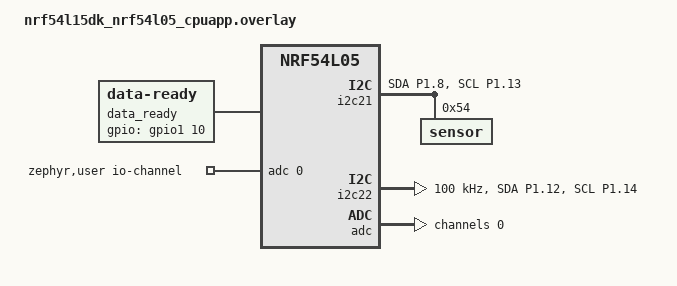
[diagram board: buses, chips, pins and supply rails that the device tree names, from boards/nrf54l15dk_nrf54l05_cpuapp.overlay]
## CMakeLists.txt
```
cmake_minimum_required(VERSION 3.20.0)
find_package(Zephyr REQUIRED HINTS $ENV{ZEPHYR_BASE})
project(peripheral_nus)

target_sources(app PRIVATE
        src/i2c_registers.c
		src/i2c_peripheral.c
		src/ble_peripheral.c
		src/adc.c
		../common/src/crypto.c
)

target_include_directories(app PRIVATE 
		../common/inc/
		inc/
)
```

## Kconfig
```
config I2C_BRIDGE_AUTH_ENABLE
	bool "Authentication timeout enabled"
	default y
	help
	  This options enables app layer authentication

config I2C_BRIDGE_AUTH_TIMEOUT
	int "Authentication timeout for BLE connection in seconds"
	default 10
	help
	  This option sets the timeout duration in seconds for the authentication
	  process when establishing a BLE connection. If the authentication is not
	  completed within this time frame, the connection attempt will be aborted.
	  Adjust this value based on your security requirements and expected
	  connection scenarios.

config I2C_BRIDGE_INT_HIGH_MS
	int "Interrupt high time in milliseconds"
	default 1
	help
	  This option sets the length of time that the interrupt line is held high for
	  any interrupt source.

config BSIB_I2C_ENCRYPTION
	bool "Encryption is enabled for I2C transport"
	help
	  Enables encryption for I2C communication

source "Kconfig.zephyr"
```

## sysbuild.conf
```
SB_CONFIG_BOOTLOADER_MCUBOOT=y
SB_CONFIG_MCUBOOT_MODE_OVERWRITE_ONLY=y
#SB_CONFIG_MCUBOOT_COMPRESSED_IMAGE_SUPPORT=y
```

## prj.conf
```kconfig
# Enable logging
CONFIG_LOG=y

CONFIG_GPIO=y
CONFIG_ADC=y

CONFIG_RING_BUFFER=y

CONFIG_MAIN_STACK_SIZE=4096
CONFIG_HEAP_MEM_POOL_SIZE=4096

# Enable BLE peripheral UART
CONFIG_BT=y
CONFIG_BT_SMP=y
CONFIG_BT_PERIPHERAL=y
CONFIG_BT_RX_STACK_SIZE=2048
CONFIG_BT_L2CAP_TX_MTU=512
CONFIG_BT_BUF_ACL_RX_SIZE=502
CONFIG_BT_BUF_ACL_TX_SIZE=502
CONFIG_BT_CTLR_DATA_LENGTH_MAX=251

CONFIG_FLASH=y
CONFIG_FLASH_MAP=y

CONFIG_SETTINGS=y

# Enable nordic security backend and PSA APIs
CONFIG_NRF_SECURITY=y
CONFIG_MBEDTLS_PSA_CRYPTO_C=y

# Enable persistent storage APIs
#CONFIG_MBEDTLS_PSA_CRYPTO_STORAGE_C=y

CONFIG_MBEDTLS_ENABLE_HEAP=y
CONFIG_MBEDTLS_HEAP_SIZE=16384

CONFIG_PSA_WANT_GENERATE_RANDOM=y
CONFIG_PSA_WANT_KEY_TYPE_AES=y
CONFIG_PSA_WANT_ALG_CTR=y

CONFIG_I2C_BRIDGE_AUTH_TIMEOUT=5

# FOTA Kconfigs
CONFIG_BOOTLOADER_MCUBOOT=y
CONFIG_MCUMGR=y
CONFIG_NET_BUF=y
CONFIG_ZCBOR=y
CONFIG_CRC=y
CONFIG_MCUMGR_TRANSPORT_BT=y
CONFIG_MCUMGR_TRANSPORT_BT_CONN_PARAM_CONTROL=y
CONFIG_IMG_MANAGER=y
CONFIG_MCUMGR_GRP_IMG=y
CONFIG_MCUMGR_GRP_OS=y
CONFIG_MCUMGR_GRP_OS_BOOTLOADER_INFO=y
CONFIG_MCUMGR_TRANSPORT_BT_REASSEMBLY=y

CONFIG_BT_L2CAP_TX_MTU=498
CONFIG_BT_BUF_ACL_TX_SIZE=251
CONFIG_BT_BUF_ACL_RX_SIZE=502
CONFIG_BT_CTLR_DATA_LENGTH_MAX=251
CONFIG_MCUMGR_TRANSPORT_BT_PERM_RW=y
CONFIG_MCUMGR_TRANSPORT_BT_PERM_RW_AUTHEN=n
```

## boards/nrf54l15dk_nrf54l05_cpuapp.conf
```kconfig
CONFIG_I2C=y
CONFIG_NRFX_TWIS22=y

# Using hardware crypto accelerator
CONFIG_PSA_CRYPTO_DRIVER_OBERON=n
CONFIG_PSA_CRYPTO_DRIVER_CRACEN=y

# Use TRUSTED_STORAGE because this is a secure-only board
#CONFIG_TRUSTED_STORAGE=y
#CONFIG_TRUSTED_STORAGE_STORAGE_BACKEND_SETTINGS=y

CONFIG_NVS=y
CONFIG_SETTINGS_NVS=y
```

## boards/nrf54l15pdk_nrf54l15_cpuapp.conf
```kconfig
CONFIG_I2C=y
CONFIG_NRFX_TWIS22=y
```

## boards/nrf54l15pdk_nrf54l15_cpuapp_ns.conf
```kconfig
CONFIG_I2C=y
CONFIG_NRFX_TWIS22=y

# Using hardware crypto accelerator
CONFIG_PSA_CRYPTO_DRIVER_OBERON=n
CONFIG_PSA_CRYPTO_DRIVER_CRACEN=y

# Use TRUSTED_STORAGE because this is a secure-only board
CONFIG_TRUSTED_STORAGE=y
CONFIG_TRUSTED_STORAGE_STORAGE_BACKEND_SETTINGS=y

CONFIG_NVS=y
CONFIG_SETTINGS_NVS=y
```

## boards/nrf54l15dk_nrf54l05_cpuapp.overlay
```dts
/ {
	data_ready: data_ready {
		compatible = "data-ready";
		gpios = <&gpio1 10 GPIO_ACTIVE_HIGH>;
	};

	zephyr,user {
		io-channels = <&adc 0>;
	};
};

&pinctrl {
	i2c21_default_alt: i2c21_default_alt {
		group1 {
			psels = <NRF_PSEL(TWIM_SDA, 1, 8)>,
				<NRF_PSEL(TWIM_SCL, 1, 13)>;
		};
	};

	i2c21_sleep_alt: i2c21_sleep_alt {
		group1 {
			psels = <NRF_PSEL(TWIM_SDA, 1, 8)>,
				<NRF_PSEL(TWIM_SCL, 1, 13)>;
			low-power-enable;
		};
	};

	i2c22_default_alt: i2c22_default_alt {
		group1 {
			psels = <NRF_PSEL(TWIM_SDA, 1, 12)>,
				<NRF_PSEL(TWIM_SCL, 1, 14)>;
		};
	};

	i2c22_sleep_alt: i2c22_sleep_alt {
		group1 {
			psels = <NRF_PSEL(TWIM_SDA, 1, 12)>,
				<NRF_PSEL(TWIM_SCL, 1, 14)>;
			low-power-enable;
		};
	};
};

&i2c21 {
	compatible = "nordic,nrf-twim";
	status = "okay";
	pinctrl-0 = <&i2c21_default_alt>;
	pinctrl-1 = <&i2c21_sleep_alt>;
	pinctrl-names = "default", "sleep";
	sensor: sensor@54 {
		reg = <0x54>;
	};
};

twi_peripheral: &i2c22 {
	compatible = "nordic,nrf-twis";
	status = "okay";
	clock-frequency = <I2C_BITRATE_STANDARD>;
	pinctrl-0 = <&i2c22_default_alt>;
	pinctrl-1 = <&i2c22_sleep_alt>;
	pinctrl-names = "default", "sleep";
};

&adc {
	#address-cells = <1>;
	#size-cells = <0>;

	channel@0 {
		reg = <0>;
		zephyr,gain = "ADC_GAIN_1_4";
		zephyr,reference = "ADC_REF_INTERNAL";
		zephyr,acquisition-time = <ADC_ACQ_TIME_DEFAULT>;
		zephyr,input-positive = <NRF_SAADC_VDD>;
		zephyr,resolution = <12>;
	};
};
```

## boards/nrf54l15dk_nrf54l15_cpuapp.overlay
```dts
/ {
	data_ready: data_ready {
		compatible = "data-ready";
		gpios = <&gpio1 10 GPIO_ACTIVE_HIGH>;
	};

	zephyr,user {
		io-channels = <&adc 0>;
	};
};

&pinctrl {
	i2c21_default_alt: i2c21_default_alt {
		group1 {
			psels = <NRF_PSEL(TWIM_SDA, 1, 8)>,
				<NRF_PSEL(TWIM_SCL, 1, 13)>;
		};
	};

	i2c21_sleep_alt: i2c21_sleep_alt {
		group1 {
			psels = <NRF_PSEL(TWIM_SDA, 1, 8)>,
				<NRF_PSEL(TWIM_SCL, 1, 13)>;
			low-power-enable;
		};
	};

	i2c22_default_alt: i2c22_default_alt {
		group1 {
			psels = <NRF_PSEL(TWIM_SDA, 1, 14)>,
				<NRF_PSEL(TWIM_SCL, 1, 12)>;
		};
	};

	i2c22_sleep_alt: i2c22_sleep_alt {
		group1 {
			psels = <NRF_PSEL(TWIM_SDA, 1, 14)>,
				<NRF_PSEL(TWIM_SCL, 1, 12)>;
			low-power-enable;
		};
	};
};

&i2c21 {
	compatible = "nordic,nrf-twim";
	status = "okay";
	pinctrl-0 = <&i2c21_default_alt>;
	pinctrl-1 = <&i2c21_sleep_alt>;
	pinctrl-names = "default", "sleep";
	sensor: sensor@54 {
		reg = <0x54>;
	};
};

twi_peripheral: &i2c22 {
	compatible = "nordic,nrf-twis";
	status = "okay";
	clock-frequency = <I2C_BITRATE_STANDARD>;
	pinctrl-0 = <&i2c22_default_alt>;
	pinctrl-1 = <&i2c22_sleep_alt>;
	pinctrl-names = "default", "sleep";
};

&adc {
	#address-cells = <1>;
	#size-cells = <0>;

	channel@0 {
		reg = <0>;
		zephyr,gain = "ADC_GAIN_1_4";
		zephyr,reference = "ADC_REF_INTERNAL";
		zephyr,acquisition-time = <ADC_ACQ_TIME_DEFAULT>;
		zephyr,input-positive = <NRF_SAADC_VDD>;
		zephyr,resolution = <12>;
	};
};
```

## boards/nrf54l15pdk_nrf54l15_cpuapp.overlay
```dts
&pinctrl {
	i2c22_default_alt: i2c22_default_alt {
		group1 {
			psels = <NRF_PSEL(TWIM_SDA, 1, 9)>,
				<NRF_PSEL(TWIM_SCL, 1, 13)>;
		};
	};

	i2c22_sleep_alt: i2c22_sleep_alt {
		group1 {
			psels = <NRF_PSEL(TWIM_SDA, 1, 9)>,
				<NRF_PSEL(TWIM_SCL, 1, 13)>;
			low-power-enable;
		};
	};
};

twi_slave: &i2c22 {
	compatible = "nordic,nrf-twis";
	status = "okay";
	clock-frequency = <I2C_BITRATE_STANDARD>;
	pinctrl-0 = <&i2c22_default_alt>;
	pinctrl-1 = <&i2c22_sleep_alt>;
	pinctrl-names = "default", "sleep";
};
```

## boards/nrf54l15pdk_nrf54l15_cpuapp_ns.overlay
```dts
&pinctrl {
	i2c21_default_alt: i2c21_default_alt {
		group1 {
			psels = <NRF_PSEL(TWIM_SDA, 1, 8)>,
				<NRF_PSEL(TWIM_SCL, 1, 12)>;
		};
	};

	i2c21_sleep_alt: i2c21_sleep_alt {
		group1 {
			psels = <NRF_PSEL(TWIM_SDA, 1, 8)>,
				<NRF_PSEL(TWIM_SCL, 1, 12)>;
			low-power-enable;
		};
	};

	i2c22_default_alt: i2c22_default_alt {
		group1 {
			psels = <NRF_PSEL(TWIM_SDA, 1, 9)>,
				<NRF_PSEL(TWIM_SCL, 1, 13)>;
		};
	};

	i2c22_sleep_alt: i2c22_sleep_alt {
		group1 {
			psels = <NRF_PSEL(TWIM_SDA, 1, 9)>,
				<NRF_PSEL(TWIM_SCL, 1, 13)>;
			low-power-enable;
		};
	};
};

&i2c21 {
	compatible = "nordic,nrf-twim";
	status = "okay";
	pinctrl-0 = <&i2c21_default_alt>;
	pinctrl-1 = <&i2c21_sleep_alt>;
	pinctrl-names = "default", "sleep";
	sensor: sensor@54 {
		reg = <0x54>;
	};
};

twi_peripheral: &i2c22 {
	compatible = "nordic,nrf-twis";
	status = "okay";
	clock-frequency = <I2C_BITRATE_STANDARD>;
	pinctrl-0 = <&i2c22_default_alt>;
	pinctrl-1 = <&i2c22_sleep_alt>;
	pinctrl-names = "default", "sleep";
};
```

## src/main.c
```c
/*
 * Copyright (c) 2024 Croxel, Inc.
 *
 * SPDX-License-Identifier: Apache-2.0
 */
#if 0
#include <zephyr/kernel.h>
#include <zephyr/bluetooth/bluetooth.h>
#include <zephyr/bluetooth/services/nus.h>

#define DEVICE_NAME		CONFIG_BT_DEVICE_NAME
#define DEVICE_NAME_LEN		(sizeof(DEVICE_NAME) - 1)

static const struct bt_data ad[] = {
	BT_DATA_BYTES(BT_DATA_FLAGS, (BT_LE_AD_GENERAL | BT_LE_AD_NO_BREDR)),
	BT_DATA(BT_DATA_NAME_COMPLETE, DEVICE_NAME, DEVICE_NAME_LEN),
};

static const struct bt_data sd[] = {
	BT_DATA_BYTES(BT_DATA_UUID128_ALL, BT_UUID_NUS_SRV_VAL),
};

static void notif_enabled(bool enabled, void *ctx)
{
	ARG_UNUSED(ctx);

	printk("%s() - %s\n", __func__, (enabled ? "Enabled" : "Disabled"));
}

static void received(struct bt_conn *conn, const void *data, uint16_t len, void *ctx)
{
	char message[CONFIG_BT_L2CAP_TX_MTU + 1] = "";

	ARG_UNUSED(conn);
	ARG_UNUSED(ctx);

	memcpy(message, data, MIN(sizeof(message) - 1, len));
	printk("%s() - Len: %d, Message: %s\n", __func__, len, message);
}

struct bt_nus_cb nus_listener = {
	.notif_enabled = notif_enabled,
	.received = received,
};

int main(void)
{
	int err;

	printk("Sample - Bluetooth Peripheral NUS\n");

	err = bt_nus_cb_register(&nus_listener, NULL);
	if (err) {
		printk("Failed to register NUS callback: %d\n", err);
		return err;
	}

	err = bt_enable(NULL);
	if (err) {
		printk("Failed to enable bluetooth: %d\n", err);
		return err;
	}

	err = bt_le_adv_start(BT_LE_ADV_CONN, ad, ARRAY_SIZE(ad), sd, ARRAY_SIZE(sd));
	if (err) {
		printk("Failed to start advertising: %d\n", err);
		return err;
	}

	printk("Initialization complete\n");

	while (true) {
		const char *hello_world = "Hello World!\n";

		k_sleep(K_SECONDS(3));

		err = bt_nus_send(NULL, hello_world, strlen(hello_world));
		printk("Data send - Result: %d\n", err);

		if (err < 0 && (err != -EAGAIN) && (err != -ENOTCONN)) {
			return err;
		}
	}

	return 0;
}
#endif
```

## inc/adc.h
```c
#ifndef ADC_H__
#define ADC_H__
#include <zephyr/kernel.h>

#define ADC_SAMPLING_ENABLED BIT(0) 

extern struct k_event adc_events;

extern struct k_timer adc_timer;

struct adc_config {
	uint32_t sampling_rate_ms;
	bool sampling_enabled;
} __packed;

#endif
```

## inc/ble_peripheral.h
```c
#ifndef BLE_PERIPHERAL_H__
#define BLE_PERIPHERAL_H__
#include <ble_packet.h>

int i2c_bridge_transmit(struct ble_enc_packet *packet);

int adc_voltage_transmit(int32_t millivolts);

#endif
```

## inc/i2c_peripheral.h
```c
#ifndef I2C_PERIPHERAL_H__
#define I2C_PERIPHERAL_H__
#include <stdint.h>
#include <stdbool.h>
#include "i2c_packet.h"

extern struct k_msgq i2c_msgq;

enum i2c_cmds {
	I2C_REG_STATUS,
	I2C_REG_DEV_ID,
	I2C_REG_ADVERTISING,
	I2C_REG_CONN_PARAM,
	I2C_REG_POWER,
	I2C_REG_TX_BUF,
	I2C_REG_TX_BUF_LEN,
	I2C_REG_RX_BUF,
	I2C_REG_RX_BUF_LEN,
	I2C_REG_END,
};

struct i2c_cmd_reg {
	uint8_t data[DATA_SIZE_BYTES];
	bool read;
	bool write;
};

#endif
```

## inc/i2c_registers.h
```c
#ifndef I2C_REGISTERS_H__
#define I2C_REGISTERS_H__
#include <stdlib.h>
#include <stdint.h>
#include <stdbool.h>
#include <zephyr/sys/ring_buffer.h>
#include "i2c_packet.h"
#include "i2c_register_map.h"

extern struct k_msgq i2c_msqg;

#define RING_BUF_SIZE 1024

enum reg_permissions {
	REG_PERM_NONE = 0,
	REG_PERM_READ = BIT(0),
	REG_PERM_WRITE = BIT(1),
	REG_PERM_RW = GENMASK(1, 0),
};
enum reg_types {
	REG_TYPE_NORMAL = 0,
	REG_TYPE_RINGBUF,
	REG_TYPE_VIRTUAL,
};

enum int_types {
	INT_TYPE_BLE_RX = BIT(0),
	INT_TYPE_BLE_CONN_LOST = BIT(1),
};

struct i2c_cmd_reg {
	enum reg_permissions permission;
	enum reg_types type;

	uint8_t data[DATA_SIZE_BYTES];

	struct ring_buf ring_data;
    uint8_t *ring_buffer_mem;
};

extern struct i2c_cmd_reg command_registers[I2C_REG_END];

void write_rx_register(uint8_t *buf);

#endif
```

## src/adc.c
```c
#include <inttypes.h>
#include <stddef.h>
#include <stdint.h>
#include <zephyr/device.h>
#include <zephyr/devicetree.h>
#include <zephyr/drivers/adc.h>
#include <zephyr/kernel.h>
#include <zephyr/sys/util.h>
#include <zephyr/logging/log.h>
#include <zephyr/init.h>

#include "adc.h"

K_EVENT_DEFINE(adc_events);

LOG_MODULE_REGISTER(adc_driver, LOG_LEVEL_INF);

#if !DT_NODE_EXISTS(DT_PATH(zephyr_user)) || \
    !DT_NODE_HAS_PROP(DT_PATH(zephyr_user), io_channels)
#error "No suitable devicetree overlay specified"
#endif

#define DT_SPEC_AND_COMMA(node_id, prop, idx) \
    ADC_DT_SPEC_GET_BY_IDX(node_id, idx),

#define ADC_DEFAULT_SAMPLING_INTERVAL_MS 1000

static const struct adc_dt_spec adc_channels[] = {
    DT_FOREACH_PROP_ELEM(DT_PATH(zephyr_user), io_channels,
                 DT_SPEC_AND_COMMA)
};

static uint32_t sample_count;
static uint32_t sampling_interval_ms = ADC_DEFAULT_SAMPLING_INTERVAL_MS;
static uint16_t adc_buffer;
static struct adc_sequence adc_sequence;

/* Forward declaration of handlers */
static void adc_work_handler(struct k_work *work);
static void adc_timer_expiry(struct k_timer *timer);

/* Static definitions of timer and work item */
K_TIMER_DEFINE(adc_timer, adc_timer_expiry, NULL);
K_WORK_DEFINE(adc_work, adc_work_handler);

/* Forward declaration of the voltage transmission function */
int adc_voltage_transmit(int32_t millivolts);

void adc_set_sampling_interval(uint32_t interval_ms)
{
    if (interval_ms == 0) {
        LOG_WRN("Invalid sampling interval, using default");
        interval_ms = ADC_DEFAULT_SAMPLING_INTERVAL_MS;
    }
    
    sampling_interval_ms = interval_ms;
    k_timer_start(&adc_timer, K_MSEC(sampling_interval_ms), 
                 K_MSEC(sampling_interval_ms));
    
    LOG_INF("Sampling interval set to %u ms", sampling_interval_ms);
}

uint32_t adc_get_sampling_interval(void)
{
    return sampling_interval_ms;
}

static void adc_work_handler(struct k_work *work)
{
    int err;
    LOG_INF("ADC reading[%u]:", sample_count++);

    for (size_t i = 0U; i < ARRAY_SIZE(adc_channels); i++) {
        int32_t val_mv;
        
        LOG_INF("Sampling %s, channel %d", 
                adc_channels[i].dev->name,
                adc_channels[i].channel_id);

        err = adc_read_dt(&adc_channels[i], &adc_sequence);
        if (err < 0) {
            LOG_ERR("Could not read ADC (%d)", err);
            continue;
        }

        if (adc_channels[i].channel_cfg.differential) {
            val_mv = (int32_t)((int16_t)adc_buffer);
        } else {
            val_mv = (int32_t)adc_buffer;
        }

        err = adc_raw_to_millivolts_dt(&adc_channels[i], &val_mv);
        if (err < 0) {
            LOG_WRN("Value in mV not available (%d)", err);
        } else {
            LOG_INF("Channel %d value: %"PRId32" mV", 
                    adc_channels[i].channel_id, val_mv);
            
            err = adc_voltage_transmit(val_mv);
            if (err < 0) {
                LOG_ERR("Failed to transmit voltage value (%d)", err);
            }
        }
    }
}

static void adc_timer_expiry(struct k_timer *timer)
{
    k_work_submit(&adc_work);
}

static int adc_init(void)
{
    int err;

    LOG_INF("Initializing ADC driver");

    /* Initialize sequence once */
    adc_sequence.buffer = &adc_buffer;
    adc_sequence.buffer_size = sizeof(adc_buffer);

    /* Configure channels and sequences */
    for (size_t i = 0U; i < ARRAY_SIZE(adc_channels); i++) {
        if (!adc_is_ready_dt(&adc_channels[i])) {
            LOG_ERR("ADC controller device %s not ready", 
                    adc_channels[i].dev->name);
            return -ENODEV;
        }

        err = adc_channel_setup_dt(&adc_channels[i]);
        if (err < 0) {
            LOG_ERR("Could not setup channel #%d (%d)", i, err);
            return err;
        }

        err = adc_sequence_init_dt(&adc_channels[i], &adc_sequence);
        if (err < 0) {
            LOG_ERR("Could not init sequence for channel #%d (%d)", i, err);
            return err;
        }

        LOG_DBG("ADC channel %d configured successfully", i);
    }

    LOG_INF("ADC driver initialized successfully");
    return 0;
}

SYS_INIT(adc_init, APPLICATION, CONFIG_APPLICATION_INIT_PRIORITY);
```

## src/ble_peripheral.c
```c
#include <zephyr/kernel.h>
#include <zephyr/sys/byteorder.h>
#include <zephyr/settings/settings.h>
#include <zephyr/bluetooth/gatt.h>
#include <zephyr/bluetooth/bluetooth.h>

#include <zephyr/logging/log.h>
LOG_MODULE_REGISTER(ble_peripheral);

#include "crypto.h"
#include "shared_keys.h"
#include "i2c_registers.h"
#include "ble_packet.h"
#include "ble_peripheral.h"
#include "adc.h"

struct bt_conn *current_connection = NULL;

#define BLE_EVT_CONNECTED BIT(0)
#define BLE_EVT_AUTHENTICATED BIT(1)

#define BLE_EVT_I2C_BRIDGE_NOTIFS_ENABLED BIT(2)
#define BLE_EVT_ADC_NOTIFS_ENABLED BIT(3)

K_EVENT_DEFINE(ble_conn_state_events);

#if defined(CONFIG_I2C_BRIDGE_AUTH_ENABLE)
static void disconnect_work_handler(struct k_work *work) {
	LOG_INF("Disconnecting from unauthenticated central");
    bt_conn_disconnect(current_connection, BT_HCI_ERR_REMOTE_USER_TERM_CONN);
}

K_WORK_DEFINE(disconnect_work, disconnect_work_handler);

static void auth_timeout_expiry(struct k_timer *timer) {
	k_work_submit(&disconnect_work);
	k_event_clear(&ble_conn_state_events, BLE_EVT_AUTHENTICATED);
}
#endif

#define BT_UUID_I2C_BRIDGE_SRV_VAL \
	BT_UUID_128_ENCODE(0x5914f300, 0x2155, 0x43e8, 0xa446, 0x10de62953d40)
#define BT_UUID_I2C_BRIDGE_RX_CHAR_VAL \
	BT_UUID_128_ENCODE(0x5914f301, 0x2155, 0x43e8, 0xa446, 0x10de62953d40)
#define BT_UUID_I2C_BRIDGE_TX_CHAR_VAL \
	BT_UUID_128_ENCODE(0x5914f302, 0x2155, 0x43e8, 0xa446, 0x10de62953d40)
#if defined(CONFIG_I2C_BRIDGE_AUTH_ENABLE)
#define BT_UUID_I2C_BRIDGE_AUTH_CHAR_VAL \
	BT_UUID_128_ENCODE(0x5914f303, 0x2155, 0x43e8, 0xa446, 0x10de62953d40)
#endif
#define BT_UUID_ADC_VOLTAGE_READING_VAL \
	BT_UUID_128_ENCODE(0x5914f304, 0x2155, 0x43e8, 0xa446, 0x10de62953d40)

#define BT_UUID_I2C_BRIDGE_SERVICE   BT_UUID_DECLARE_128(BT_UUID_I2C_BRIDGE_SRV_VAL)
#define BT_UUID_I2C_BRIDGE_TX_CHAR   BT_UUID_DECLARE_128(BT_UUID_I2C_BRIDGE_TX_CHAR_VAL)
#define BT_UUID_I2C_BRIDGE_RX_CHAR   BT_UUID_DECLARE_128(BT_UUID_I2C_BRIDGE_RX_CHAR_VAL)
#define BT_UUID_ADC_VOLTAGE_READING  BT_UUID_DECLARE_128(BT_UUID_ADC_VOLTAGE_READING_VAL)

#if defined(CONFIG_I2C_BRIDGE_AUTH_ENABLE)
#define BT_UUID_I2C_BRIDGE_AUTH_CHAR BT_UUID_DECLARE_128(BT_UUID_I2C_BRIDGE_AUTH_CHAR_VAL)
K_TIMER_DEFINE(auth_timeout, auth_timeout_expiry, NULL);
#endif

static void i2c_bridge_ccc_cfg_changed(const struct bt_gatt_attr *attr, uint16_t value) {
	if (value == BT_GATT_CCC_NOTIFY) {
		k_event_set_masked(&ble_conn_state_events, BLE_EVT_I2C_BRIDGE_NOTIFS_ENABLED, BLE_EVT_I2C_BRIDGE_NOTIFS_ENABLED);
		LOG_INF("I2C bridge BLE central notifications enabled");
	} else {
		k_event_clear(&ble_conn_state_events, BLE_EVT_I2C_BRIDGE_NOTIFS_ENABLED);
	}
}

K_MSGQ_DEFINE(ble_msgq, sizeof(struct ble_enc_packet), 16, 1);

static void ble_decrypt_work_handler(struct k_work *work) {
	int err;
	struct ble_enc_packet ciphertext;
	k_msgq_get(&ble_msgq, &ciphertext, K_MSEC(100));

	struct ble_packet plaintext = {0};
	
	err = decrypt_ble_packet(&plaintext, &ciphertext);
	if (err < 0) {
		LOG_ERR("Decrypt failed (err: %d)", err);
		return;
	}

	if (plaintext.magic == BLE_PACKET_MAGIC) {
		write_rx_register(plaintext.plaintext);
	}
	LOG_INF("BLE Write Packet");
	LOG_HEXDUMP_INF(ciphertext.data, sizeof(ciphertext.data), "Ciphertext:");
	LOG_HEXDUMP_INF(plaintext.plaintext, sizeof(plaintext.plaintext), "Plaintext:");
}

K_WORK_DEFINE(ble_decrypt_work, ble_decrypt_work_handler);

ssize_t i2c_bridge_bt_chr_write(struct bt_conn *conn, const struct bt_gatt_attr *attr,
	const void *buf, uint16_t len, uint16_t offset, uint8_t flags) {
	if (len != sizeof(struct ble_enc_packet)) {
		LOG_ERR("Invalid packet size");
		return -1;
	}
	LOG_INF("%d", ble_conn_state_events.events);
	if (k_event_test(&ble_conn_state_events, BLE_EVT_AUTHENTICATED)) {
		LOG_INF("Got write");
		k_msgq_put(&ble_msgq, (struct ble_enc_packet *)buf, K_NO_WAIT);
		k_work_submit(&ble_decrypt_work);
		return len;
	} else {
		LOG_ERR("Not authenticated");
		return -1;
	}
}

#if defined(CONFIG_I2C_BRIDGE_AUTH_ENABLE)
static ssize_t i2c_bridge_write_auth(struct bt_conn *conn, 
									 const struct bt_gatt_attr *attr,
									 const void *buf,
									 uint16_t len, uint16_t offset, uint8_t flags) {
	int err;

	LOG_INF("Auth packet");
	LOG_HEXDUMP_INF(buf, len, "Ciphertext: ");
	if (len != sizeof(struct ble_enc_packet)) {
		LOG_ERR("Invalid auth char length");
		return -1;
	}

	struct ble_packet plaintext = {0};
	err = decrypt_ble_packet(&plaintext, (struct ble_enc_packet *)buf);
	if (err < 0) {
		LOG_ERR("Decrypt failed (err: %d)", err);
		return -1;
	}
	LOG_HEXDUMP_INF(plaintext.plaintext, sizeof(plaintext.plaintext), "Plaintext: ");

	if (plaintext.magic == BLE_PACKET_MAGIC) {
		if (memcmp(plaintext.plaintext, ble_auth_message, sizeof(ble_auth_message))) {
			return -1;
		} else {
			LOG_INF("Auth success");
			k_timer_stop(&auth_timeout);
			k_event_set_masked(&ble_conn_state_events, BLE_EVT_AUTHENTICATED, BLE_EVT_AUTHENTICATED);
			return len;
		}
	} else {
		return -1;
	}
}
#endif

static ssize_t adc_voltage_write_config(struct bt_conn *conn, 
									 const struct bt_gatt_attr *attr,
									 const void *buf,
									 uint16_t len, uint16_t offset, uint8_t flags) {
	if (len != sizeof(struct adc_config)) {
		LOG_ERR("Invalid adc config length: %d", len);
		return -1;
	}

	LOG_HEXDUMP_INF(buf, len, "adc config");
	
	const struct adc_config *config = (const struct adc_config *)buf;

	LOG_INF("Sampling enabled: %b", config->sampling_enabled);
	LOG_INF("Sampling rate ms: %d", config->sampling_rate_ms);
	
	if (config->sampling_enabled) {
		k_timer_start(&adc_timer, K_MSEC(config->sampling_rate_ms), K_MSEC(config->sampling_rate_ms));
		k_event_set_masked(&adc_events, ADC_SAMPLING_ENABLED, ADC_SAMPLING_ENABLED);
	} else {
		k_timer_stop(&adc_timer);
		k_event_clear(&adc_events, ADC_SAMPLING_ENABLED);
	}
	
	return len;	
}

static void adc_voltage_ccc_cfg_changed(const struct bt_gatt_attr *attr, uint16_t value) {
	if (value == BT_GATT_CCC_NOTIFY) {
		k_event_set_masked(&ble_conn_state_events, BLE_EVT_ADC_NOTIFS_ENABLED, BLE_EVT_ADC_NOTIFS_ENABLED);
		LOG_INF("ADC central notifications enabled");
	} else {
		LOG_INF("ADC CCC val: %d", value);
		k_event_clear(&ble_conn_state_events, BLE_EVT_ADC_NOTIFS_ENABLED);
	}
}

BT_GATT_SERVICE_DEFINE(i2c_bridge_svc,								   
	BT_GATT_PRIMARY_SERVICE(BT_UUID_I2C_BRIDGE_SERVICE),						   
	BT_GATT_CHARACTERISTIC(BT_UUID_I2C_BRIDGE_TX_CHAR,						   
		BT_GATT_CHRC_NOTIFY,								   
		BT_GATT_PERM_READ,								   
		NULL, NULL, NULL),								   
	BT_GATT_CCC(i2c_bridge_ccc_cfg_changed,							   
		BT_GATT_PERM_READ | BT_GATT_PERM_WRITE),					   
	BT_GATT_CHARACTERISTIC(BT_UUID_I2C_BRIDGE_RX_CHAR,						   
		BT_GATT_CHRC_WRITE | BT_GATT_CHRC_WRITE_WITHOUT_RESP,						   
		BT_GATT_PERM_WRITE,								   
		NULL, i2c_bridge_bt_chr_write, NULL),							   
#if defined(CONFIG_I2C_BRIDGE_AUTH_ENABLE)
	BT_GATT_CHARACTERISTIC(BT_UUID_I2C_BRIDGE_AUTH_CHAR,
		BT_GATT_CHRC_WRITE,
		BT_GATT_PERM_WRITE,
		NULL, i2c_bridge_write_auth, NULL),
#endif
	BT_GATT_CHARACTERISTIC(BT_UUID_ADC_VOLTAGE_READING,						   
		BT_GATT_CHRC_WRITE | BT_GATT_CHRC_NOTIFY,								   
		BT_GATT_PERM_WRITE,								   
		NULL, adc_voltage_write_config, NULL),								   
	BT_GATT_CCC(adc_voltage_ccc_cfg_changed,							   
		BT_GATT_PERM_READ | BT_GATT_PERM_WRITE),					   
);												   

#define DEVICE_NAME		CONFIG_BT_DEVICE_NAME
#define DEVICE_NAME_LEN		(sizeof(DEVICE_NAME) - 1)

static const struct bt_data ad[] = {
	BT_DATA_BYTES(BT_DATA_FLAGS, (BT_LE_AD_GENERAL | BT_LE_AD_NO_BREDR)),
	BT_DATA(BT_DATA_NAME_COMPLETE, DEVICE_NAME, DEVICE_NAME_LEN),
};

static const struct bt_data sd[] = {
	BT_DATA_BYTES(BT_DATA_UUID128_ALL, BT_UUID_I2C_BRIDGE_SRV_VAL),
};

static void start_advertising(void) {
	int err;

	err = bt_le_adv_start(BT_LE_ADV_CONN, ad, ARRAY_SIZE(ad), sd, ARRAY_SIZE(sd));
	if (err) {
		LOG_ERR("Failed to start advertising: %d", err);
		return;
	}
}

static void connected(struct bt_conn *conn, uint8_t err)
{
	char addr[BT_ADDR_LE_STR_LEN];

	bt_addr_le_to_str(bt_conn_get_dst(conn), addr, sizeof(addr));

	if (err) {
		LOG_ERR("Failed to connect to %s (%u)", addr, err);
		bt_conn_unref(current_connection);
		current_connection = NULL;
		return;
	}

	k_event_set_masked(&ble_conn_state_events, BLE_EVT_CONNECTED, BLE_EVT_CONNECTED);
	LOG_INF("Connected %s", addr);

#if defined(CONFIG_I2C_BRIDGE_AUTH_ENABLE)
	k_timer_start(&auth_timeout, K_SECONDS(CONFIG_I2C_BRIDGE_AUTH_TIMEOUT), K_NO_WAIT);
#endif
	current_connection = conn;

	err = bt_le_adv_stop();
	if (err) {
		LOG_INF("Failed to stop advertising");
	}
}

static void disconnected(struct bt_conn *conn, uint8_t reason)
{
	char addr[BT_ADDR_LE_STR_LEN];

	bt_addr_le_to_str(bt_conn_get_dst(conn), addr, sizeof(addr));

	bt_conn_unref(current_connection);
	current_connection = NULL;

	k_timer_stop(&adc_timer);
	k_event_clear(&ble_conn_state_events, BLE_EVT_CONNECTED);
	k_event_clear(&ble_conn_state_events, BLE_EVT_AUTHENTICATED);
	LOG_INF("Disconnected from %s (reason 0x%02x)", addr, reason);

	start_advertising();
}

static void security_changed(struct bt_conn *conn, bt_security_t level,
			     enum bt_security_err err)
{
	char addr[BT_ADDR_LE_STR_LEN];

	bt_addr_le_to_str(bt_conn_get_dst(conn), addr, sizeof(addr));

	if (!err) {
		LOG_INF("Security changed: %s level %u", addr, level);
	} else {
		LOG_ERR("Security failed: %s level %u err %d", addr, level,
		       err);
	}
}

BT_CONN_CB_DEFINE(conn_callbacks) = {
	.connected = connected,
	.disconnected = disconnected,
	.security_changed = security_changed,
};

int i2c_bridge_transmit(struct ble_enc_packet *packet) {
	int err;

	LOG_INF("Testing if BLE_EVT_AUTHENTICATED | BLE_EVT_I2C_BRIDGE_NOTIFS_ENABLED set: %d, %d", BLE_EVT_AUTHENTICATED | BLE_EVT_I2C_BRIDGE_NOTIFS_ENABLED, ble_conn_state_events.events);
	if (k_event_test(&ble_conn_state_events, BLE_EVT_AUTHENTICATED | BLE_EVT_I2C_BRIDGE_NOTIFS_ENABLED)) {
		err = bt_gatt_notify_uuid(current_connection, 
								  BT_UUID_I2C_BRIDGE_TX_CHAR,
								  attr_i2c_bridge_svc,
								  packet->data,
								  sizeof(struct ble_enc_packet)
		);
	} else {
		LOG_ERR("Notifications for I2C bridge not enabled");
		return -1;
	}
	return err;
}

int adc_voltage_transmit(int32_t millivolts) {
	int err;

	uint8_t array[4] = sys_uint32_to_array((uint32_t)millivolts);

	err = bt_gatt_notify_uuid(current_connection, 
							  BT_UUID_ADC_VOLTAGE_READING,
							  attr_i2c_bridge_svc,
							  array,
							  sizeof(array)
	);

	return err;
}

int ble_init(void)
{
	int err;

	if (IS_ENABLED(CONFIG_SETTINGS)) {
		settings_load();
	}

	err = bt_enable(NULL);
	if (err) {
		LOG_ERR("Failed to enable bluetooth: %d", err);
		return err;
	}

	start_advertising();

	LOG_INF("Initialization complete");

	return 0;
}
SYS_INIT(ble_init, APPLICATION, 99);

/* Thread stack size */
#define STACK_SIZE 1024
/* Thread priority */
#define THREAD_PRIORITY 7

/* Thread function */
void ble_event_monitor(void *p1, void *p2, void *p3)
{
    ARG_UNUSED(p1);
    ARG_UNUSED(p2);
    ARG_UNUSED(p3);

    while (1) {
        uint32_t current_events = ble_conn_state_events.events;
        LOG_INF("BLE connection state events: 0x%08x", current_events);
        k_sleep(K_SECONDS(1));
    }
}

/* Define the thread */
K_THREAD_DEFINE(ble_monitor_id, STACK_SIZE,
                ble_event_monitor, NULL, NULL, NULL,
                THREAD_PRIORITY, 0, 0);
```

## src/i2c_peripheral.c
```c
#include <errno.h>
#include <string.h>

#include <zephyr/kernel.h>
#include <zephyr/sys/ring_buffer.h>
#include <zephyr/linker/devicetree_regions.h>
#include <zephyr/device.h>
#include <zephyr/drivers/pinctrl.h>

#include <zephyr/drivers/i2c.h>
#include <nrfx_twis.h>

#include <zephyr/logging/log.h>
LOG_MODULE_REGISTER(i2c_peripheral);

#include "crypto.h"
#include "i2c_registers.h"

#if CONFIG_NRFX_TWIS1
#define I2C_S_INSTANCE 1
#elif CONFIG_NRFX_TWIS2
#define I2C_S_INSTANCE 2
#elif CONFIG_NRFX_TWIS22
#define I2C_S_INSTANCE 22
#elif CONFIG_NRFX_TWIS131
#define I2C_S_INSTANCE 131
#else
#error "TWIS instance not enabled or not supported"
#endif

#define NODE_TWIS   DT_NODELABEL(twi_peripheral)

#define TWIS_MEMORY_SECTION                                                                    
	COND_CODE_1(DT_NODE_HAS_PROP(NODE_TWIS, memory_regions),                                   \
		    (__attribute__((__section__(                                                       \
			    LINKER_DT_NODE_REGION_NAME(DT_PHANDLE(NODE_TWIS, memory_regions)))))),         \
		    ())

static const nrfx_twis_t twis = NRFX_TWIS_INSTANCE(I2C_S_INSTANCE);

#define RX_BUFFER_SIZE 256
static uint8_t i2c_rx_buffer[RX_BUFFER_SIZE] TWIS_MEMORY_SECTION;

K_MSGQ_DEFINE(i2c_msgq, sizeof(struct i2c_reg_packet), 16, 1);

enum i2c_cmds cmd_idx = I2C_REG_STATUS;

void i2c_peripheral_handler(nrfx_twis_evt_t const *p_event) {
    struct i2c_reg_packet plaintext;
    bool process_packet = false;

    switch (p_event->type) {
    case NRFX_TWIS_EVT_READ_REQ:
        LOG_INF("TWIS read requested");
        plaintext.reg = cmd_idx;
		LOG_INF("Copying cmd_idx: %d", cmd_idx);
		
		if (command_registers[cmd_idx].type == REG_TYPE_RINGBUF) {
			ring_buf_peek(&command_registers[cmd_idx].ring_data, plaintext.data, 16);
		} else {
			memcpy(plaintext.data, command_registers[cmd_idx].data, DATA_SIZE_BYTES);
		}

#if defined(CONFIG_BSIB_I2C_ENCRYPTION)
		struct i2c_reg_enc_packet ciphertext;
        encrypt_i2c_packet(&plaintext, &ciphertext);
        nrfx_twis_tx_prepare(&twis, &ciphertext.data, I2C_PACKET_SIZE_BYTES);
#else
        nrfx_twis_tx_prepare(&twis, &plaintext.data, I2C_REG_PACKET_BYTES);
#endif
        break;

    case NRFX_TWIS_EVT_READ_DONE:
        LOG_INF("TWIS read done");
        break;

    case NRFX_TWIS_EVT_WRITE_REQ:
        LOG_INF("TWIS write requested");
        memset(i2c_rx_buffer, 0, RX_BUFFER_SIZE);
        nrfx_twis_rx_prepare(&twis, i2c_rx_buffer, RX_BUFFER_SIZE);
        break;

    case NRFX_TWIS_EVT_WRITE_DONE:
        LOG_INF("TWIS write done");
        LOG_HEXDUMP_INF(i2c_rx_buffer, I2C_PACKET_SIZE_BYTES, "i2c rx");

#if defined(CONFIG_BSIB_I2C_ENCRYPTION)
        if (p_event->data.rx_amount == sizeof(struct i2c_reg_enc_packet)) {
            decrypt_i2c_packet(&plaintext, (struct i2c_reg_enc_packet *)i2c_rx_buffer);
            process_packet = true;
        } else {
            LOG_ERR("Invalid encrypted packet length: %d", p_event->data.rx_amount);
        }
#else
        // When encryption is disabled, treat received data as plaintext directly
		memcpy(&plaintext, i2c_rx_buffer, sizeof(struct i2c_reg_packet));
		process_packet = true;
#endif

        // Common packet processing logic
        if (process_packet) {
            cmd_idx = plaintext.reg;
			LOG_INF("Processing packet");
            if (cmd_idx < I2C_REG_END) {
                k_msgq_put(&i2c_msgq, &plaintext, K_NO_WAIT);
            } else {
                LOG_ERR("Invalid command index: %d", cmd_idx);
                cmd_idx = I2C_REG_STATUS;
            }
        }
        break;

    default:
        LOG_INF("TWIS event: %d\n", p_event->type);
        break;
    }
}

static int i2c_peripheral_init(void)
{
	const nrfx_twis_config_t config = {
		.addr = {0x54, 0x00},
		.skip_gpio_cfg = true,
		.skip_psel_cfg = true,
	};
	int ret;

	ret = nrfx_twis_init(&twis, &config, i2c_peripheral_handler);
	if (ret != NRFX_SUCCESS) {
		LOG_ERR("Init failed: %d", ret);
		return -1;
	}

	PINCTRL_DT_DEFINE(NODE_TWIS);
	ret = pinctrl_apply_state(PINCTRL_DT_DEV_CONFIG_GET(NODE_TWIS), PINCTRL_STATE_DEFAULT);

	IRQ_CONNECT(DT_IRQN(NODE_TWIS), DT_IRQ(NODE_TWIS, priority),
		    NRFX_TWIS_INST_HANDLER_GET(I2C_S_INSTANCE), NULL, 0);

	nrfx_twis_enable(&twis);
	LOG_INF("Enabled TWIS");
	return 0;
}

SYS_INIT(i2c_peripheral_init, APPLICATION, 90);
```

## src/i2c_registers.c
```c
#include <zephyr/kernel.h>
#include <zephyr/sys/byteorder.h>
#include <zephyr/devicetree.h>
#include <zephyr/drivers/gpio.h>
#include <zephyr/logging/log.h>
#include <zephyr/sys/ring_buffer.h>

#include "crypto.h"
#include "i2c_registers.h"
#include "i2c_packet.h"
#include "ble_peripheral.h" 
#include "ble_packet.h"

LOG_MODULE_REGISTER(i2c_registers);

static const struct gpio_dt_spec data_ready = 
    GPIO_DT_SPEC_GET(DT_NODELABEL(data_ready), gpios);

extern struct k_msgq i2c_msgq;

static uint8_t ring_buf_tx_data[RING_BUF_SIZE];
static uint8_t ring_buf_rx_data[RING_BUF_SIZE];

struct i2c_cmd_reg command_registers[] = {
    [I2C_REG_STATUS] = {
		.permission = REG_PERM_READ,
		.type = REG_TYPE_NORMAL,
        .data = {0x13, 0x37},
    },
    [I2C_REG_DEV_ID] = {
		.permission = REG_PERM_READ,
		.type = REG_TYPE_NORMAL,
        .data = {0xBE, 0xEF},
    },
    [I2C_REG_INT_SRC] = {
		.permission = REG_PERM_READ,
		.type = REG_TYPE_NORMAL,
        .data = {0x00, 0x00, 0x00, 0x00},
    },
    [I2C_REG_TX_BUF] = {
		.permission = REG_PERM_RW,
		.type = REG_TYPE_RINGBUF,
		.ring_buffer_mem = ring_buf_tx_data,
    },
    [I2C_REG_RX_BUF] = {
		.permission = REG_PERM_RW,
		.type = REG_TYPE_RINGBUF,
		.ring_buffer_mem = ring_buf_rx_data,
    },
    [I2C_REG_RX_NUM] = {
		.permission = REG_PERM_READ,
		.type = REG_TYPE_VIRTUAL,
    },
    [I2C_REG_BLE_ADVERTISING] = {
		.permission = REG_PERM_RW,
		.type = REG_TYPE_VIRTUAL,
    },
    [I2C_REG_BLE_CONN_PARAM] = {
		.permission = REG_PERM_RW,
		.type = REG_TYPE_VIRTUAL,
    },
    [I2C_REG_BLE_POWER] = {
		.permission = REG_PERM_RW,
		.type = REG_TYPE_VIRTUAL,
    },
};

static void init_ring_buffers(void) {
    // Initialize TX buffer
    ring_buf_init(&command_registers[I2C_REG_TX_BUF].ring_data,
                  RING_BUF_SIZE,
                  command_registers[I2C_REG_TX_BUF].ring_buffer_mem);
    
    // Initialize RX buffer
    ring_buf_init(&command_registers[I2C_REG_RX_BUF].ring_data,
                  RING_BUF_SIZE,
                  command_registers[I2C_REG_RX_BUF].ring_buffer_mem);
}

static int i2c_trigger_interrupt(enum int_types interrupt) {
	int err = gpio_pin_set_dt(&data_ready, 1);
	if (err < 0) {
		LOG_ERR("Error setting interrupt pin (err: %d)", err);
		return err;
	}

	k_msleep(CONFIG_I2C_BRIDGE_INT_HIGH_MS);

	err = gpio_pin_set_dt(&data_ready, 0);
	if (err < 0) {
		LOG_ERR("Error setting interrupt pin (err: %d)", err);
		return err;
	}

	uint32_t status_reg = sys_get_be32(command_registers[I2C_REG_INT_SRC].data);
	status_reg &= interrupt;
	sys_put_be32(status_reg, command_registers[I2C_REG_INT_SRC].data);

	return 0;
}

static int i2c_reg_status_handler(struct i2c_reg_packet *packet) {
    LOG_INF("Status register packet");
    if (packet->read) {
        memcpy(packet->plaintext, command_registers[I2C_REG_STATUS].data, DATA_SIZE_BYTES);
    }
    return 0;
}

static int i2c_reg_dev_id_handler(struct i2c_reg_packet *packet) {
    LOG_INF("Device ID packet");
    if (packet->read) {
        memcpy(packet->plaintext, command_registers[I2C_REG_DEV_ID].data, DATA_SIZE_BYTES);
    }
    return 0;
}

static int i2c_reg_dev_int_src_handler(struct i2c_reg_packet *packet) {
	LOG_INF("Interrupt source packet");
    if (packet->read) {
        memcpy(packet->plaintext, command_registers[I2C_REG_DEV_ID].data, DATA_SIZE_BYTES);
    }
	return 0;
}

static int i2c_reg_ble_advertising_handler(struct i2c_reg_packet *packet) {
    LOG_INF("Advertising packet");
    if (packet->read) {
        memcpy(packet->plaintext, command_registers[I2C_REG_BLE_ADVERTISING].data, DATA_SIZE_BYTES);
    } else {
        memcpy(command_registers[I2C_REG_BLE_ADVERTISING].data, packet->plaintext, DATA_SIZE_BYTES);
    }
    return 0;
}

static int i2c_reg_ble_connection_handler(struct i2c_reg_packet *packet) {
    LOG_INF("Connection packet");
    if (packet->read) {
        memcpy(packet->plaintext, command_registers[I2C_REG_BLE_CONN_PARAM].data, DATA_SIZE_BYTES);
    } else {
        memcpy(command_registers[I2C_REG_BLE_CONN_PARAM].data, packet->plaintext, DATA_SIZE_BYTES);
    }
    return 0;
}

static int i2c_reg_ble_power_handler(struct i2c_reg_packet *packet) {
    LOG_INF("Power packet");
    if (packet->read) {
        memcpy(packet->plaintext, command_registers[I2C_REG_BLE_POWER].data, DATA_SIZE_BYTES);
    } else {
        memcpy(command_registers[I2C_REG_BLE_POWER].data, packet->plaintext, DATA_SIZE_BYTES);
    }
    return 0;
}

static int i2c_reg_tx_buf_handler(struct i2c_reg_packet *packet) {
    LOG_INF("TX buf packet");
    
    if (packet->read) {
        // Read from TX ring buffer
        uint32_t read_size = ring_buf_get(&command_registers[I2C_REG_TX_BUF].ring_data,
                                        packet->plaintext,
                                        sizeof(packet->plaintext));
        if (read_size == 0) {
            LOG_WRN("TX buffer empty");
            return -EAGAIN;
        }
        return 0;
    } else {
        // Write to TX ring buffer
        uint32_t written = ring_buf_put(&command_registers[I2C_REG_TX_BUF].ring_data,
                                      packet->plaintext,
                                      sizeof(packet->plaintext));
        
        if (written != sizeof(packet->plaintext)) {
            LOG_WRN("TX buffer full, partial write %d bytes", written);
            return -ENOMEM;
        }

        struct ble_packet plaintext;
        memcpy(plaintext.plaintext, packet->plaintext, sizeof(packet->plaintext));
        plaintext.magic = BLE_PACKET_MAGIC;

        struct ble_enc_packet ciphertext;
        encrypt_ble_packet(&plaintext, &ciphertext);
        i2c_bridge_transmit(&ciphertext);
        
        LOG_HEXDUMP_INF(plaintext.plaintext, sizeof(plaintext.plaintext), "Plaintext: ");
        LOG_HEXDUMP_INF(ciphertext.data, sizeof(ciphertext.data), "Ciphertext: ");
        LOG_INF("Sending to BLE central...");
        return 0;
    }
}

static void update_rx_buf_size(void) {
	uint32_t ring_buf_size = ring_buf_size_get(&command_registers[I2C_REG_RX_BUF].ring_data);
	sys_put_le32(ring_buf_size, command_registers[I2C_REG_RX_NUM].data);
}

static int i2c_reg_rx_buf_handler(struct i2c_reg_packet *packet) {
    if (packet->read) {
        // Read from RX ring buffer
        uint32_t read_size = ring_buf_get(&command_registers[I2C_REG_RX_BUF].ring_data,
                                        packet->plaintext,
                                        sizeof(packet->plaintext));

		update_rx_buf_size();
        
        if (read_size == 0) {
            LOG_WRN("RX buffer empty");
            return -EAGAIN;
        }

		uint32_t status_reg = sys_get_be32(command_registers[I2C_REG_INT_SRC].data);
		status_reg |= INT_TYPE_BLE_RX;
    }
    return 0;
}

static int i2c_reg_rx_num_handler(struct i2c_reg_packet *packet) {
	LOG_INF("RX num packet");
	if (packet->read) {
		update_rx_buf_size();
        memcpy(packet->plaintext, command_registers[I2C_REG_RX_NUM].data, DATA_SIZE_BYTES);
	}
	return 0;
}

static int (*i2c_reg_handlers[])(struct i2c_reg_packet *) = {
    i2c_reg_status_handler,
    i2c_reg_dev_id_handler,
	i2c_reg_dev_int_src_handler,
    i2c_reg_tx_buf_handler,
    i2c_reg_rx_buf_handler,
	i2c_reg_rx_num_handler,
    i2c_reg_ble_advertising_handler,
    i2c_reg_ble_connection_handler,
    i2c_reg_ble_power_handler,
};

BUILD_ASSERT(ARRAY_SIZE(i2c_reg_handlers) != (I2C_REG_END - 1),
            "Number of handlers must match number of registers");

static bool is_read_command(uint8_t *data) {
    for (int i = 0; i < DATA_SIZE_BYTES; i++) {
        if (data[i] != 0) {
            return false;
        }
    }
    return true;
}

void write_rx_register(uint8_t *buf) {
    uint32_t written = ring_buf_put(&command_registers[I2C_REG_RX_BUF].ring_data,
                                  buf,
                                  DATA_SIZE_BYTES);
    
    if (written >= DATA_SIZE_BYTES) {
        LOG_WRN("RX buffer written with %d bytes, more than data packet size", written);
    }
	
	update_rx_buf_size();

	int err = i2c_trigger_interrupt(INT_TYPE_BLE_RX);
    if (err < 0) {
        LOG_ERR("Error setting interrupt pin (err: %d)", err);
    }
}

int i2c_register_handler(void) {
    LOG_INF("Beginning secure I2C -> NUS bridge");

    if (!gpio_is_ready_dt(&data_ready)) {
        LOG_ERR("Interrupt GPIO not ready.");
        return -1;
    }

    int err = gpio_pin_configure_dt(&data_ready, GPIO_OUTPUT_INACTIVE);
    if (err < 0) {
        LOG_ERR("Interrupt GPIO configuration failed (err: %d)", err);
        return -1;
    }

    // Initialize ring buffers
    init_ring_buffers();

    struct i2c_reg_packet plaintext;
    while (true) {
        k_msgq_get(&i2c_msgq, &plaintext, K_FOREVER);
        plaintext.read = is_read_command(plaintext.plaintext);
        i2c_reg_handlers[plaintext.reg](&plaintext);
        LOG_HEXDUMP_DBG(plaintext.plaintext, sizeof(plaintext.plaintext), "i2c cmd");
    }
}

#define THREAD_STACK_SIZE 2048 
#define THREAD_PRIORITY 5

K_THREAD_DEFINE(i2c_register_thread, THREAD_STACK_SIZE,
                i2c_register_handler, NULL, NULL, NULL,
                THREAD_PRIORITY, 0, 0);
```

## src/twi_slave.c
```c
#include <zephyr/kernel.h>
#include <zephyr/linker/devicetree_regions.h>
#include <zephyr/device.h>
#include <zephyr/drivers/pinctrl.h>

#include <nrfx_twis.h>

#include <zephyr/logging/log.h>
LOG_MODULE_REGISTER(twi_slave);

#if CONFIG_NRFX_TWIS1
#define I2C_S_INSTANCE 1
#elif CONFIG_NRFX_TWIS2
#define I2C_S_INSTANCE 2
#elif CONFIG_NRFX_TWIS22
#define I2C_S_INSTANCE 22
#elif CONFIG_NRFX_TWIS131
#define I2C_S_INSTANCE 131
#else
#error "TWIS instance not enabled or not supported"
#endif

#define NODE_TWIS   DT_NODELABEL(twi_slave)

#define TWIS_MEMORY_SECTION                                                                        \
	COND_CODE_1(DT_NODE_HAS_PROP(NODE_TWIS, memory_regions),                                   \
		    (__attribute__((__section__(                                                   \
			    LINKER_DT_NODE_REGION_NAME(DT_PHANDLE(NODE_TWIS, memory_regions)))))), \
		    ())

#define TEST_DATA_SIZE 6

static uint8_t twi_slave_buffer[TEST_DATA_SIZE] TWIS_MEMORY_SECTION;

static nrfx_twis_t m_twis_inst = NRFX_TWIS_INSTANCE(I2C_S_INSTANCE);

void twis_handler(nrfx_twis_evt_t const *p_event)
{
	printk("IDK\r\n");
	switch (p_event->type) {
	case NRFX_TWIS_EVT_READ_REQ:
		nrfx_twis_tx_prepare(&m_twis_inst, twi_slave_buffer, TEST_DATA_SIZE);
		printk("TWIS event: read request\n");
		break;
	case NRFX_TWIS_EVT_READ_DONE:
		printk("TWIS event: read done\n");
		break;
	case NRFX_TWIS_EVT_WRITE_REQ:
		nrfx_twis_rx_prepare(&m_twis_inst, twi_slave_buffer, TEST_DATA_SIZE);
		printk("TWIS event: write request\n");
		break;
	case NRFX_TWIS_EVT_WRITE_DONE:
		printk("TWIS event: write done\n");
		break;
	default:
		printk("TWIS event: %d\n", p_event->type);
		break;
	}
}

int twi_slave_init(void) {
	int err;

    nrfx_twis_config_t twis_config = {
		.addr = {0x54, 0},
		.skip_gpio_cfg = true,
		.skip_psel_cfg = true,
	};

    err = nrfx_twis_init(&m_twis_inst, &twis_config, twis_handler);
	if (err < 0) {
		LOG_ERR("I2C Slave init failed err: (%d)", err);
		return err;
	}

	PINCTRL_DT_DEFINE(NODE_TWIS);
	err = pinctrl_apply_state(PINCTRL_DT_DEV_CONFIG_GET(NODE_TWIS), PINCTRL_STATE_DEFAULT);

	IRQ_CONNECT(DT_IRQN(NODE_TWIS), DT_IRQ(NODE_TWIS, priority),
		    NRFX_TWIS_INST_HANDLER_GET(I2C_S_INSTANCE), NULL, 0);

	nrfx_twis_enable(&m_twis_inst);

	return 0;
}

SYS_INIT(twi_slave_init, POST_KERNEL, 50);
```
